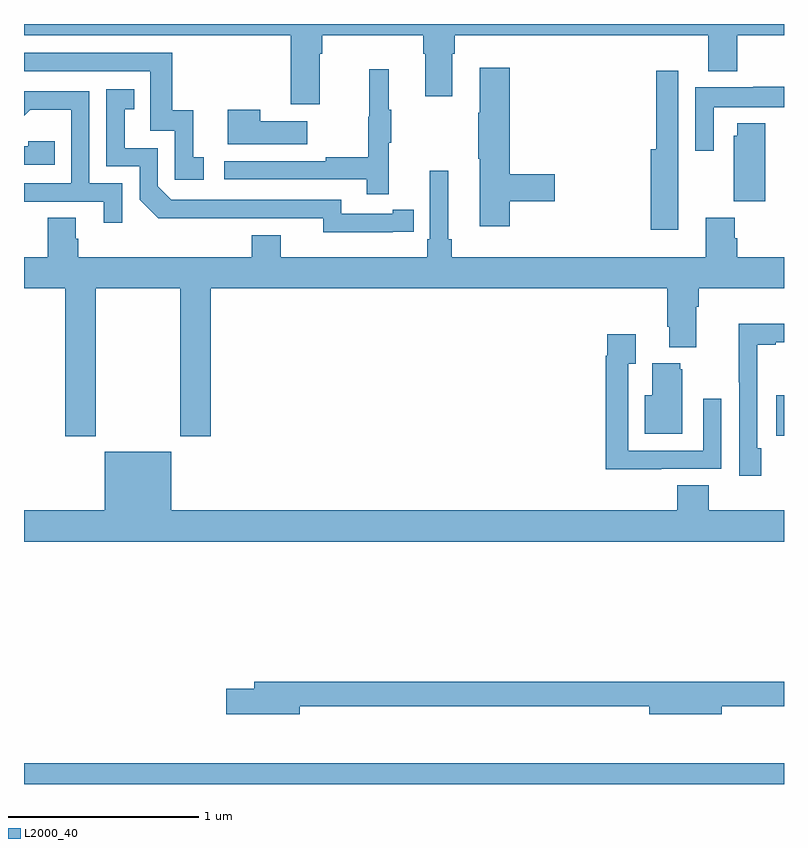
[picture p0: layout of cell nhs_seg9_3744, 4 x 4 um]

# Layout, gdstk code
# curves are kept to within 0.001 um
import gdstk
lib = gdstk.Library(unit=1e-6, precision=1e-09)
def R(c, l, rs):  # rectangles x0, y0, x1, y1
    for r in rs: c.add(gdstk.rectangle(r[:2], r[2:], *l))
def P(c, l, *ps):  # polygons
    for p in ps: c.add(gdstk.Polygon(p, *l))
L2000_40 = (2000, 40)

nhs_seg9_3744 = lib.new_cell('nhs_seg9_3744')
R(nhs_seg9_3744, L2000_40, [(325,1172.5,329,1172.608), (328.958,1174.334,329,1174.546)])
P(nhs_seg9_3744, L2000_40, [(326.557,1176.344),(326.57,1176.344),(326.57,1176.44),(327.101,1176.44),(327.101,1176.344),(327.113,1176.344),(327.113,1176.12),(327.253,1176.12),(327.253,1176.344),(327.266,1176.344),(327.266,1176.44),(328.601,1176.44),(328.601,1176.251),(328.754,1176.251),(328.754,1176.44),(329,1176.44),(329,1176.5),(325,1176.5),(325,1176.44),(326.405,1176.44),(326.405,1176.078),(326.557,1176.078)],
  [(325.945,1175.799),(325.892,1175.799),(325.892,1176.046),(325.781,1176.046),(325.781,1176.348),(325,1176.348),(325,1176.252),(325.665,1176.252),(325.665,1175.937),(325.794,1175.937),(325.794,1175.679),(325.945,1175.679)],
  [(327.557,1175.566),(327.793,1175.566),(327.793,1175.708),(327.557,1175.708),(327.557,1176.271),(327.398,1176.271),(327.398,1176.032),(327.391,1176.032),(327.391,1175.791),(327.398,1175.791),(327.398,1175.436),(327.557,1175.436)],
  [(326.921,1175.875),(326.932,1175.875),(326.932,1176.049),(326.921,1176.049),(326.921,1176.262),(326.818,1176.262),(326.818,1176.012),(326.811,1176.012),(326.811,1175.798),(326.587,1175.798),(326.587,1175.778),(326.055,1175.778),(326.055,1175.682),(326.803,1175.682),(326.803,1175.604),(326.921,1175.604)],
  [(328.444,1175.738),(328.443,1175.738),(328.443,1176.253),(328.327,1176.253),(328.327,1175.842),(328.298,1175.842),(328.298,1175.418),(328.444,1175.418)],
  [(328.629,1176.062),(329,1176.062),(329,1176.169),(328.837,1176.169),(328.837,1176.166),(328.533,1176.166),(328.533,1175.832),(328.629,1175.832)],
  [(326.942,1175.406),(327.05,1175.406),(327.05,1175.522),(326.942,1175.522),(326.942,1175.502),(326.67,1175.502),(326.67,1175.574),(325.776,1175.574),(325.704,1175.646),(325.704,1175.847),(325.531,1175.847),(325.531,1176.051),(325.58,1176.051),(325.58,1176.157),(325.434,1176.157),(325.434,1175.751),(325.608,1175.751),(325.608,1175.574),(325.706,1175.477),(326.574,1175.478),(326.574,1175.405)],
  [(325.518,1175.661),(325.344,1175.661),(325.344,1176.147),(325,1176.147),(325,1176.016),(325.034,1176.05),(325.248,1176.05),(325.248,1175.661),(325,1175.661),(325,1175.565),(325.421,1175.565),(325.421,1175.454),(325.518,1175.454)],
  [(326.491,1175.989),(326.243,1175.989),(326.243,1176.049),(326.072,1176.049),(326.072,1175.867),(326.491,1175.867)],
  [(328.9,1175.977),(328.754,1175.977),(328.754,1175.913),(328.736,1175.913),(328.736,1175.566),(328.9,1175.566)],
  [(325.163,1175.883),(325.023,1175.883),(325.023,1175.856),(325,1175.856),(325,1175.76),(325.163,1175.76)],
  [(325.377,1175.108),(325.822,1175.108),(325.822,1174.329),(325.982,1174.329),(325.982,1175.108),(328.385,1175.108),(328.385,1174.906),(328.397,1174.906),(328.397,1174.799),(328.537,1174.799),(328.537,1175.012),(328.55,1175.012),(328.55,1175.108),(329,1175.108),(329,1175.272),(328.754,1175.272),(328.754,1175.372),(328.741,1175.372),(328.741,1175.481),(328.589,1175.481),(328.589,1175.272),(327.251,1175.272),(327.251,1175.368),(327.232,1175.368),(327.232,1175.728),(327.135,1175.728),(327.135,1175.368),(327.122,1175.368),(327.122,1175.272),(326.35,1175.272),(326.35,1175.389),(326.198,1175.389),(326.198,1175.272),(325.286,1175.272),(325.286,1175.37),(325.273,1175.37),(325.273,1175.48),(325.126,1175.48),(325.126,1175.272),(325,1175.272),(325,1175.108),(325.217,1175.108),(325.217,1174.329),(325.377,1174.329)],
  [(328.879,1174.266),(328.86,1174.266),(328.86,1174.812),(328.957,1174.812),(328.957,1174.824),(329,1174.824),(329,1174.922),(328.762,1174.922),(328.762,1174.615),(328.764,1174.615),(328.764,1174.122),(328.879,1174.122)],
  [(328.355,1174.158),(328.671,1174.158),(328.671,1174.528),(328.575,1174.528),(328.575,1174.254),(328.179,1174.254),(328.179,1174.711),(328.219,1174.711),(328.219,1174.867),(328.071,1174.867),(328.071,1174.754),(328.063,1174.754),(328.063,1174.157),(328.355,1174.157)],
  [(328.465,1174.683),(328.454,1174.683),(328.454,1174.714),(328.307,1174.714),(328.307,1174.546),(328.268,1174.546),(328.268,1174.343),(328.465,1174.343)],
  [(329,1173.94),(328.604,1173.94),(328.604,1174.073),(328.439,1174.073),(328.439,1173.94),(325.774,1173.94),(325.774,1174.249),(325.424,1174.249),(325.424,1173.94),(325,1173.94),(325,1173.776),(329,1173.776)],
  [(326.452,1172.91),(328.292,1172.91),(328.292,1172.867),(328.672,1172.867),(328.672,1172.91),(329,1172.91),(329,1173.038),(326.213,1173.038),(326.213,1173.002),(326.064,1173.002),(326.064,1172.867),(326.452,1172.867)])

lib.write_gds('nhs_seg9_3744.gds')
